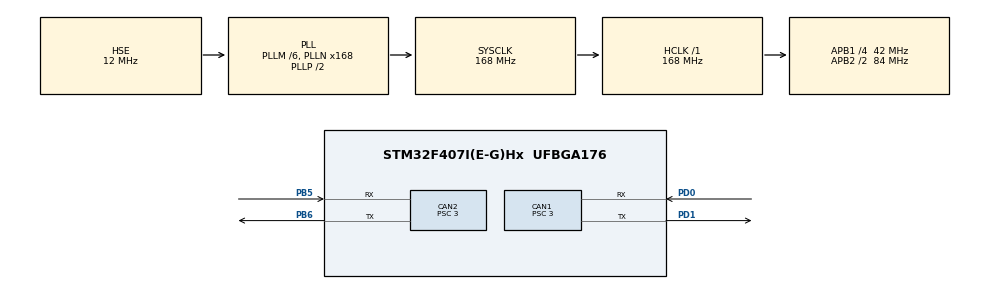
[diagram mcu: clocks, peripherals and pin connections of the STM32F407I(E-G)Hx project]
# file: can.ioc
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CAN1.BS1=CAN_BS1_10TQ
CAN1.BS2=CAN_BS2_3TQ
CAN1.CalculateBaudRate=1000000
CAN1.CalculateTimeQuantum=71.42857142857143
CAN1.Prescaler=3
CAN2.BS1=CAN_BS1_10TQ
CAN2.BS2=CAN_BS2_3TQ
CAN2.CalculateBaudRate=1000000
CAN2.CalculateTimeQuantum=71.42857142857143
CAN2.Prescaler=3
Mcu.Family=STM32F4
Mcu.Name=STM32F407I(E-G)Hx
Mcu.Package=UFBGA176
NVIC.CAN1_RX0_IRQn=true\:0\:0\:false\:false\:true\:true\:true\:true
NVIC.CAN2_RX0_IRQn=true\:0\:0\:false\:false\:true\:true\:true\:true
NVIC.PriorityGroup=NVIC_PRIORITYGROUP_4
PA13.Mode=Serial_Wire
PA13.Signal=SYS_JTMS-SWDIO
PA14.Mode=Serial_Wire
PA14.Signal=SYS_JTCK-SWCLK
PB5.Mode=CAN_Activate
PB5.Signal=CAN2_RX
PB6.Mode=CAN_Activate
PB6.Signal=CAN2_TX
PD0.Mode=CAN_Activate
PD0.Signal=CAN1_RX
PD1.Mode=CAN_Activate
PD1.Signal=CAN1_TX
PH0-OSC_IN.Mode=HSE-External-Oscillator
PH0-OSC_IN.Signal=RCC_OSC_IN
PH1-OSC_OUT.Mode=HSE-External-Oscillator
PH1-OSC_OUT.Signal=RCC_OSC_OUT
ProjectManager.HeapSize=0x200
ProjectManager.StackSize=0x400
ProjectManager.TargetToolchain=MDK-ARM V5
RCC.48MHZClocksFreq_Value=84000000
RCC.AHBFreq_Value=168000000
RCC.APB1CLKDivider=RCC_HCLK_DIV4
RCC.APB1Freq_Value=42000000
RCC.APB1TimFreq_Value=84000000
RCC.APB2CLKDivider=RCC_HCLK_DIV2
RCC.APB2Freq_Value=84000000
RCC.APB2TimFreq_Value=168000000
RCC.CortexFreq_Value=168000000
RCC.HCLKFreq_Value=168000000
RCC.HSE_VALUE=12000000
RCC.HSI_VALUE=16000000
RCC.LSE_VALUE=32768
RCC.PLLM=6
RCC.PLLN=168
RCC.PLLSourceVirtual=RCC_PLLSOURCE_HSE
RCC.SYSCLKFreq_VALUE=168000000
RCC.SYSCLKSource=RCC_SYSCLKSOURCE_PLLCLK
RCC.VCOOutputFreq_Value=336000000
board=custom

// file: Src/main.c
/* USER CODE BEGIN Header */
/**
  ******************************************************************************
  * @file           : main.c
  * @brief          : Main program body
  ******************************************************************************
  * @attention
  *
  * <h2><center>&copy; Copyright (c) 2019 STMicroelectronics.
  * All rights reserved.</center></h2>
  *
  * This software component is licensed by ST under BSD 3-Clause license,
  * the "License"; You may not use this file except in compliance with the
  * License. You may obtain a copy of the License at:
  *                        opensource.org/licenses/BSD-3-Clause
  *
  ******************************************************************************
  */
/* USER CODE END Header */

#include "main.h"
#include "can.h"
#include "gpio.h"

/* USER CODE BEGIN Includes */
#include "bsp_can.h"
#include "CAN_receive.h"
#include "pid.h"

/* USER CODE END Includes */

/* USER CODE BEGIN PV */

extern motor_measure_t motor_chassis[7];

uint8_t safe_flag = 0;

pid_type_def zhuanpanji_speed_pid;

fp32 PID[3] = {200,0,0};
fp32 max_out = 800;
fp32 max_iout = 500;
fp32 speed_now;
fp32 speed_set = 190;

/* USER CODE END PV */

void SystemClock_Config(void);

int main(void)
{

  /* MCU Configuration--------------------------------------------------------*/

  /* Reset of all peripherals, Initializes the Flash interface and the Systick. */
  HAL_Init();

  /* Configure the system clock */
  SystemClock_Config();

  /* Initialize all configured peripherals */
  MX_GPIO_Init();
  MX_CAN1_Init();
  MX_CAN2_Init();
  /* USER CODE BEGIN 2 */
    can_filter_init();
	PID_init(&zhuanpanji_speed_pid, PID_POSITION, PID, max_out, max_iout);

	HAL_Delay(1000);

  /* USER CODE END 2 */

  /* Infinite loop */
  while (1)
  {

    /* USER CODE BEGIN 3 */

	if(safe_flag == 1)
	{
		CAN_cmd_chassis(0, 0, 0, 0);

	}
	else
	{
		speed_now = motor_chassis[0].speed_rpm;

		PID_calc(&zhuanpanji_speed_pid, speed_now, speed_set);

		CAN_cmd_chassis((int16_t)zhuanpanji_speed_pid.out, 0, 0, 0);
	}

	HAL_Delay(1);
  }
  /* USER CODE END 3 */
}

void SystemClock_Config(void)
{
  RCC_OscInitTypeDef RCC_OscInitStruct = {0};
  RCC_ClkInitTypeDef RCC_ClkInitStruct = {0};

  /** Configure the main internal regulator output voltage
  */
  __HAL_RCC_PWR_CLK_ENABLE();
  __HAL_PWR_VOLTAGESCALING_CONFIG(PWR_REGULATOR_VOLTAGE_SCALE1);
  /** Initializes the CPU, AHB and APB busses clocks
  */
  RCC_OscInitStruct.OscillatorType = RCC_OSCILLATORTYPE_HSE;
  RCC_OscInitStruct.HSEState = RCC_HSE_ON;
  RCC_OscInitStruct.PLL.PLLState = RCC_PLL_ON;
  RCC_OscInitStruct.PLL.PLLSource = RCC_PLLSOURCE_HSE;
  RCC_OscInitStruct.PLL.PLLM = 6;
  RCC_OscInitStruct.PLL.PLLN = 168;
  RCC_OscInitStruct.PLL.PLLP = RCC_PLLP_DIV2;
  RCC_OscInitStruct.PLL.PLLQ = 4;
  if (HAL_RCC_OscConfig(&RCC_OscInitStruct) != HAL_OK)
  {
    Error_Handler();
  }
  /** Initializes the CPU, AHB and APB busses clocks
  */
  RCC_ClkInitStruct.ClockType = RCC_CLOCKTYPE_HCLK|RCC_CLOCKTYPE_SYSCLK
                              |RCC_CLOCKTYPE_PCLK1|RCC_CLOCKTYPE_PCLK2;
  RCC_ClkInitStruct.SYSCLKSource = RCC_SYSCLKSOURCE_PLLCLK;
  RCC_ClkInitStruct.AHBCLKDivider = RCC_SYSCLK_DIV1;
  RCC_ClkInitStruct.APB1CLKDivider = RCC_HCLK_DIV4;
  RCC_ClkInitStruct.APB2CLKDivider = RCC_HCLK_DIV2;

  if (HAL_RCC_ClockConfig(&RCC_ClkInitStruct, FLASH_LATENCY_5) != HAL_OK)
  {
    Error_Handler();
  }
}

void Error_Handler(void)
{
}

/************************ (C) COPYRIGHT STMicroelectronics *****END OF FILE****/
